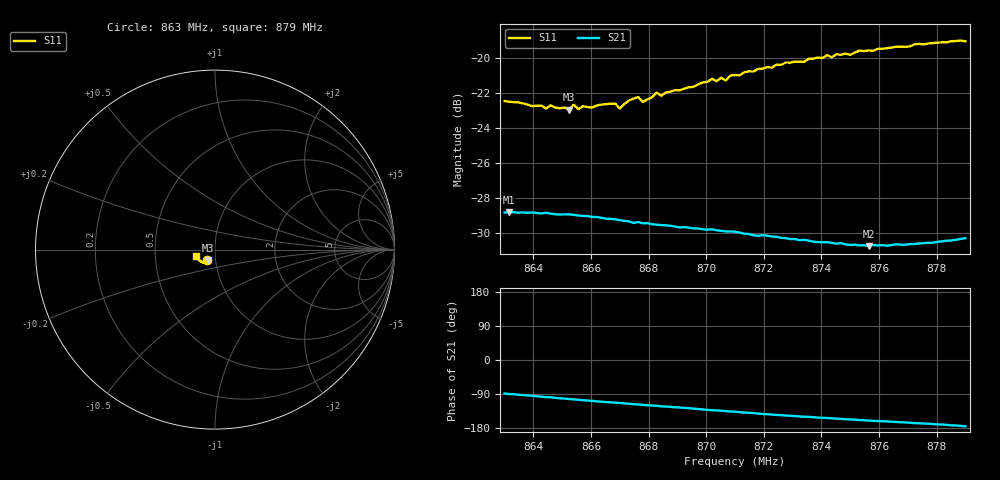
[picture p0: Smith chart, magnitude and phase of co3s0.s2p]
# HZ S RI R 50
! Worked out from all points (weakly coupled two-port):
!   101 points, 863 MHz to 879 MHz, reference 50 ohm
!   highest |S21| = -28.78 dB at 863.16 MHz (marker M1); lowest = -30.7 dB at 875.64 MHz (marker M2)
!   lowest |S11| = -22.9 dB at 865.24 MHz (marker M3), VSWR 1.15, Z = 45.9 - j5.51 ohm
!   |S11| at or under -10 dB: start of sweep to end of sweep
!   S12 and S22 are empty: the file has one direction only
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8.63e8  -0.045 -0.0607  0.000957 -0.0363  0 0  0 0
8.6316e8  -0.0446 -0.0605  0.000236 -0.0364  0 0  0 0
8.6524e8  -0.0392 -0.0597  -0.00804 -0.0349  0 0  0 0
8.654e8  -0.0421 -0.0606  -0.00867 -0.0347  0 0  0 0
8.6556e8  -0.0398 -0.0596  -0.00909 -0.0344  0 0  0 0
8.6572e8  -0.039 -0.0617  -0.00981 -0.0341  0 0  0 0
8.6604e8  -0.0383 -0.0613  -0.0108 -0.0335  0 0  0 0
8.6684e8  -0.0387 -0.0635  -0.0133 -0.0321  0 0  0 0
8.67e8  -0.0407 -0.0592  -0.0136 -0.0317  0 0  0 0
8.6748e8  -0.0403 -0.0654  -0.0152 -0.0303  0 0  0 0
8.6764e8  -0.0414 -0.0655  -0.0156 -0.0303  0 0  0 0
8.678e8  -0.0392 -0.0641  -0.0161 -0.0297  0 0  0 0
8.6828e8  -0.0416 -0.0682  -0.0172 -0.0288  0 0  0 0
8.6844e8  -0.0403 -0.0671  -0.0179 -0.0282  0 0  0 0
8.702e8  -0.0491 -0.0724  -0.0219 -0.024  0 0  0 0
8.7068e8  -0.0499 -0.0706  -0.0226 -0.0227  0 0  0 0
8.7084e8  -0.0532 -0.0718  -0.023 -0.0223  0 0  0 0
8.71e8  -0.0534 -0.072  -0.0232 -0.022  0 0  0 0
8.7372e8  -0.0711 -0.0701  -0.0262 -0.0146  0 0  0 0
8.7564e8  -0.0857 -0.0613  -0.0273 -0.00999  0 0  0 0
8.7644e8  -0.0918 -0.0557  -0.028 -0.0086  0 0  0 0
8.79e8  -0.106 -0.0356  -0.0305 -0.00272  0 0  0 0
